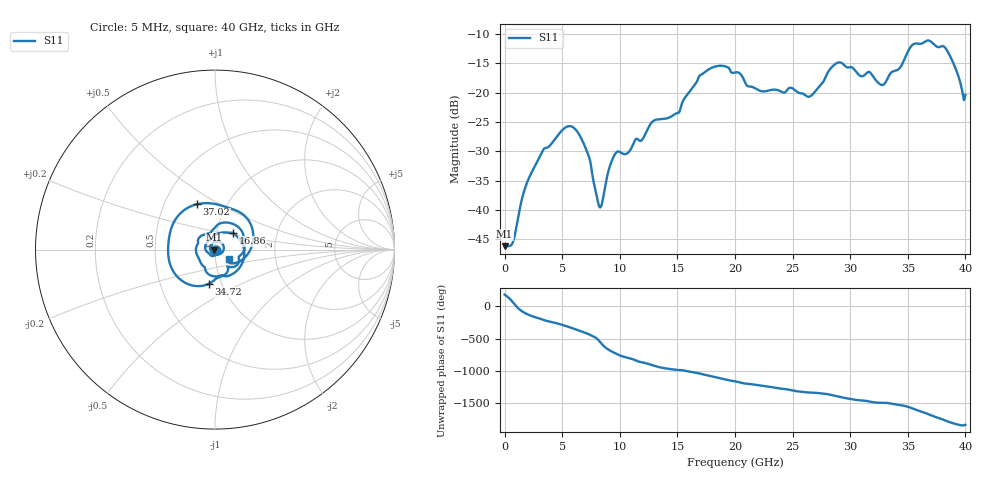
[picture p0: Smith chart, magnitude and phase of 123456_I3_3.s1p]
# MHz MA S R 50.0
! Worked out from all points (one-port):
!   8000 points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, 5 MHz to 40 GHz, reference 50 ohm
!   lowest |S11| = -46.2 dB at 5 MHz (marker M1), VSWR 1.01, Z = 49.5 + j0.00548 ohm
!   |S11| at or under -10 dB: start of sweep to end of sweep
!   S11 on the Smith chart (normalised r, x): 5 MHz: 0.99, +0.00; 16.86 GHz: 1.20, +0.23; 34.72 GHz: 0.87, -0.34; 37.02 GHz: 0.72, +0.40; 40 GHz: 1.17, -0.13
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5  0.00491 179.4
725  0.005317 58.2
1605  0.01347 -89.5
2350  0.02092 -152.3
5005  0.04792 71.2
6675  0.04048 -30.2
7325  0.02844 -74.3
8275  0.01053 170.6
9260  0.02557 23.3
10005  0.03124 -41.1
12940  0.05771 161.1
15005  0.06699 93.9
16860  0.1363 43.0
18305  0.1676 -16.9
20005  0.149 -81.6
22240  0.1034 -146.9
25005  0.1088 135.9
26495  0.09289 106.2
28690  0.1753 54.1
30005  0.1656 7.2
32795  0.1165 -54.1
34720  0.1944 -100.6
35005  0.224 -114.7
36005  0.2615 -179.5
37025  0.2723 112.0
38345  0.2349 26.1
39150  0.1609 -20.9
40000  0.09621 -34.3
